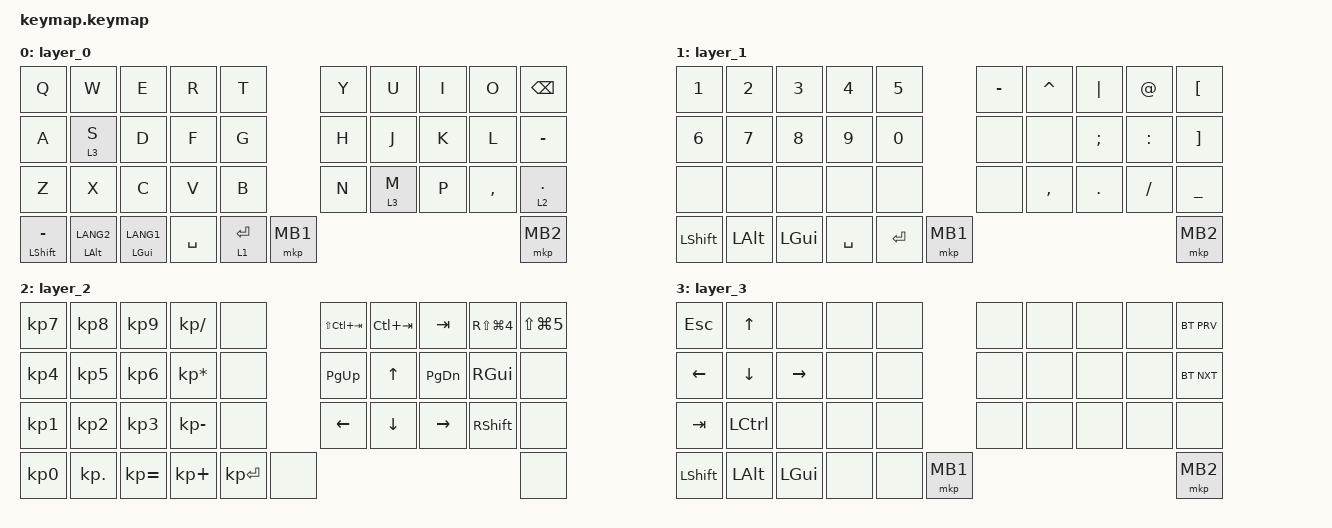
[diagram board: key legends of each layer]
#include <behaviors.dtsi>
#include <dt-bindings/zmk/bt.h>
#include <dt-bindings/zmk/keys.h>
#include <dt-bindings/zmk/pointing.h>

/ {
    keymap {
        compatible = "zmk,keymap";

        layer_0 {
            bindings = <
&kp Q                 &kp W               &kp E               &kp R      &kp T                &kp Y  &kp U    &kp I  &kp O      &kp BACKSPACE
&kp A                 &lt 3 S             &kp D               &kp F      &kp G                &kp H  &kp J    &kp K  &kp L      &kp MINUS
&kp Z                 &kp X               &kp C               &kp V      &kp B                &kp N  &lt 3 M  &kp P  &kp COMMA  &lt 2 PERIOD
&mt LEFT_SHIFT MINUS  &mt LEFT_ALT LANG2  &mt LEFT_GUI LANG1  &kp SPACE  &lt 1 RET  &mkp MB1                                    &mkp MB2
            >;
        };

        layer_1 {
            bindings = <
&kp NUMBER_1  &kp NUMBER_2  &kp NUMBER_3  &kp NUMBER_4  &kp NUMBER_5            &kp MINUS  &kp CARET  &kp PIPE       &kp AT_SIGN  &kp LEFT_BRACKET
&kp NUMBER_6  &kp NUMBER_7  &kp NUMBER_8  &kp NUMBER_9  &kp NUMBER_0            &none      &none      &kp SEMICOLON  &kp COLON    &kp RIGHT_BRACKET
&none         &none         &none         &none         &none                   &none      &kp COMMA  &kp PERIOD     &kp SLASH    &kp UNDERSCORE
&kp LSHFT     &kp LALT      &kp LGUI      &kp SPACE     &kp RET       &mkp MB1                                                    &mkp MB2
            >;
        };

        layer_2 {
            bindings = <
&kp KP_NUMBER_7  &kp KP_NUMBER_8  &kp KP_NUMBER_9  &kp KP_SLASH     &none                &kp LS(LC(TAB))  &kp LC(TAB)     &kp TAB          &kp RS(LG(NUMBER_4))  &kp LS(LG(N5))
&kp KP_NUMBER_4  &kp KP_NUMBER_5  &kp KP_NUMBER_6  &kp KP_ASTERISK  &none                &kp PAGE_UP      &kp UP_ARROW    &kp PAGE_DOWN    &kp RGUI              &none
&kp KP_NUMBER_1  &kp KP_NUMBER_2  &kp KP_NUMBER_3  &kp KP_MINUS     &none                &kp LEFT         &kp DOWN_ARROW  &kp RIGHT_ARROW  &kp RSHFT             &none
&kp KP_NUMBER_0  &kp KP_DOT       &kp KP_EQUAL     &kp KP_PLUS      &kp KP_ENTER  &none                                                                          &none
            >;
        };

        layer_3 {
            bindings = <
&kp ESC    &kp UP            &none      &none  &none            &none  &none  &none  &none  &bt BT_PRV
&kp LEFT   &kp DOWN          &kp RIGHT  &none  &none            &none  &none  &none  &none  &bt BT_NXT
&kp TAB    &kp LEFT_CONTROL  &none      &none  &none            &none  &none  &none  &none  &none
&kp LSHFT  &kp LALT          &kp LGUI   &none  &none  &mkp MB1                              &mkp MB2
            >;
        };
    };
};
